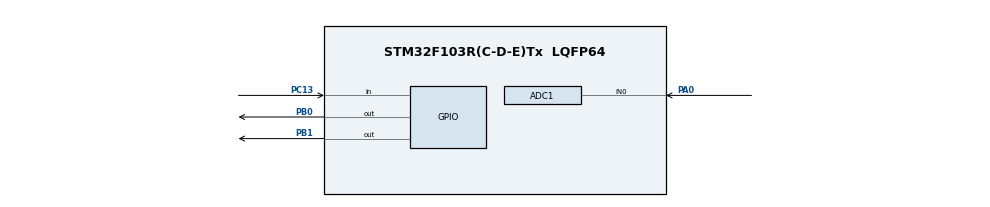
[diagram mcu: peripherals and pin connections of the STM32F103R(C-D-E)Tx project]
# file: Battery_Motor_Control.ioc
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ADC1.Channel-0\#ChannelRegularConversion=ADC_CHANNEL_0
ADC1.NbrOfConversionFlag=1
ADC1.Rank-0\#ChannelRegularConversion=1
ADC1.SamplingTime-0\#ChannelRegularConversion=ADC_SAMPLETIME_1CYCLE_5
ADC1.master=1
Mcu.Family=STM32F1
Mcu.Name=STM32F103R(C-D-E)Tx
Mcu.Package=LQFP64
NVIC.PriorityGroup=NVIC_PRIORITYGROUP_4
PA0-WKUP.Signal=ADCx_IN0
PB0.GPIO_PuPd=GPIO_NOPULL
PB0.Signal=GPIO_Output
PB1.Signal=GPIO_Output
PC13-TAMPER-RTC.GPIO_PuPd=GPIO_PULLDOWN
PC13-TAMPER-RTC.Signal=GPIO_Input
ProjectManager.HeapSize=0x200
ProjectManager.StackSize=0x400
ProjectManager.TargetToolchain=STM32CubeIDE
RCC.APB1Freq_Value=8000000
RCC.APB2Freq_Value=8000000
SH.ADCx_IN0.0=ADC1_IN0,IN0
VP_SYS_VS_ND.Mode=No_Debug
board=custom

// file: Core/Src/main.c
/* USER CODE BEGIN Header */
/**
  ******************************************************************************
  * @file           : main.c
  * @brief          : Main program body
  ******************************************************************************
  * @attention
  *
  * Copyright (c) 2025 STMicroelectronics.
  * All rights reserved.
  *
  * This software is licensed under terms that can be found in the LICENSE file
  * in the root directory of this software component.
  * If no LICENSE file comes with this software, it is provided AS-IS.
  *
  ******************************************************************************
  */
/* USER CODE END Header */
#include "main.h"

ADC_HandleTypeDef hadc1;

void SystemClock_Config(void);
static void MX_GPIO_Init(void);
static void MX_ADC1_Init(void);
/* USER CODE BEGIN PFP */

// Function prototypes
float readBatteryVoltage(void);
void stopMotors(void);
void rotateMotorCW(void);
void rotateMotorCCW(void);

/* USER CODE END PFP */

/* USER CODE BEGIN 0 */

// INSERT VARIABLES AND DEFINES HERE
#include <stdio.h>

#define MOTOR_ENABLE_PIN GPIO_PIN_0
#define MOTOR_ENABLE_PORT GPIOB
#define MOTOR_DIR_PIN GPIO_PIN_1
#define MOTOR_DIR_PORT GPIOB

#define BUTTON_PIN GPIO_PIN_13
#define BUTTON_PORT GPIOC

volatile uint8_t buttonClickCount = 0;
volatile uint32_t lastClickTime = 0;

/* USER CODE END 0 */

int main(void)
{

  /* MCU Configuration--------------------------------------------------------*/

  /* Reset of all peripherals, Initializes the Flash interface and the Systick. */
  HAL_Init();

  /* Configure the system clock */
  SystemClock_Config();

  /* Initialize all configured peripherals */
  MX_GPIO_Init();
  MX_ADC1_Init();

  /* Infinite loop */
  /* USER CODE BEGIN WHILE */
  while (1)
  {
	  float voltage = readBatteryVoltage();

	  if (voltage < 6.5) {
		  stopMotors();
	  } else if (voltage > 7.0) {
		  if (buttonClickCount == 1) {
			  stopMotors();
		  } else if (buttonClickCount == 2) {
			  rotateMotorCCW();
		  } else if (buttonClickCount == 3) {
			  rotateMotorCW();
		  }
	  } else {
		  rotateMotorCW();
	  }

	  if (HAL_GetTick() - lastClickTime > 500) {
		  buttonClickCount = 0;
	  }

	  HAL_Delay(100);
	  }
	  /* USER CODE END WHILE */

    /* USER CODE END WHILE */

  }

void SystemClock_Config(void)
{
  RCC_OscInitTypeDef RCC_OscInitStruct = {0};
  RCC_ClkInitTypeDef RCC_ClkInitStruct = {0};
  RCC_PeriphCLKInitTypeDef PeriphClkInit = {0};

  /** Initializes the RCC Oscillators according to the specified parameters
  * in the RCC_OscInitTypeDef structure.
  */
  RCC_OscInitStruct.OscillatorType = RCC_OSCILLATORTYPE_HSI;
  RCC_OscInitStruct.HSIState = RCC_HSI_ON;
  RCC_OscInitStruct.HSICalibrationValue = RCC_HSICALIBRATION_DEFAULT;
  RCC_OscInitStruct.PLL.PLLState = RCC_PLL_NONE;
  if (HAL_RCC_OscConfig(&RCC_OscInitStruct) != HAL_OK)
  {
    Error_Handler();
  }

  /** Initializes the CPU, AHB and APB buses clocks
  */
  RCC_ClkInitStruct.ClockType = RCC_CLOCKTYPE_HCLK|RCC_CLOCKTYPE_SYSCLK
                              |RCC_CLOCKTYPE_PCLK1|RCC_CLOCKTYPE_PCLK2;
  RCC_ClkInitStruct.SYSCLKSource = RCC_SYSCLKSOURCE_HSI;
  RCC_ClkInitStruct.AHBCLKDivider = RCC_SYSCLK_DIV1;
  RCC_ClkInitStruct.APB1CLKDivider = RCC_HCLK_DIV1;
  RCC_ClkInitStruct.APB2CLKDivider = RCC_HCLK_DIV1;

  if (HAL_RCC_ClockConfig(&RCC_ClkInitStruct, FLASH_LATENCY_0) != HAL_OK)
  {
    Error_Handler();
  }
  PeriphClkInit.PeriphClockSelection = RCC_PERIPHCLK_ADC;
  PeriphClkInit.AdcClockSelection = RCC_ADCPCLK2_DIV2;
  if (HAL_RCCEx_PeriphCLKConfig(&PeriphClkInit) != HAL_OK)
  {
    Error_Handler();
  }
}

static void MX_ADC1_Init(void)
{

  ADC_ChannelConfTypeDef sConfig = {0};

  /** Common config
  */
  hadc1.Instance = ADC1;
  hadc1.Init.ScanConvMode = ADC_SCAN_DISABLE;
  hadc1.Init.ContinuousConvMode = DISABLE;
  hadc1.Init.DiscontinuousConvMode = DISABLE;
  hadc1.Init.ExternalTrigConv = ADC_SOFTWARE_START;
  hadc1.Init.DataAlign = ADC_DATAALIGN_RIGHT;
  hadc1.Init.NbrOfConversion = 1;
  if (HAL_ADC_Init(&hadc1) != HAL_OK)
  {
    Error_Handler();
  }

  /** Configure Regular Channel
  */
  sConfig.Channel = ADC_CHANNEL_0;
  sConfig.Rank = ADC_REGULAR_RANK_1;
  sConfig.SamplingTime = ADC_SAMPLETIME_1CYCLE_5;
  if (HAL_ADC_ConfigChannel(&hadc1, &sConfig) != HAL_OK)
  {
    Error_Handler();
  }

}

static void MX_GPIO_Init(void)
{
  GPIO_InitTypeDef GPIO_InitStruct = {0};

  /* GPIO Ports Clock Enable */
  __HAL_RCC_GPIOC_CLK_ENABLE();
  __HAL_RCC_GPIOA_CLK_ENABLE();
  __HAL_RCC_GPIOB_CLK_ENABLE();

  /*Configure GPIO pin Output Level */
  HAL_GPIO_WritePin(GPIOB, GPIO_PIN_0|GPIO_PIN_1, GPIO_PIN_RESET);

  /*Configure GPIO pin : PC13 */
  GPIO_InitStruct.Pin = GPIO_PIN_13;
  GPIO_InitStruct.Mode = GPIO_MODE_IT_RISING;
  GPIO_InitStruct.Pull = GPIO_PULLDOWN;
  HAL_GPIO_Init(GPIOC, &GPIO_InitStruct);

  /*Configure GPIO pins : PB0 PB1 */
  GPIO_InitStruct.Pin = GPIO_PIN_0|GPIO_PIN_1;
  GPIO_InitStruct.Mode = GPIO_MODE_OUTPUT_PP;
  GPIO_InitStruct.Pull = GPIO_NOPULL;
  GPIO_InitStruct.Speed = GPIO_SPEED_FREQ_LOW;
  HAL_GPIO_Init(GPIOB, &GPIO_InitStruct);

  /* USER CODE BEGIN MX_GPIO_Init_2 */

  HAL_NVIC_SetPriority(EXTI15_10_IRQn, 0, 0);
  HAL_NVIC_EnableIRQ(EXTI15_10_IRQn);

  /* USER CODE END MX_GPIO_Init_2 */
}

/* USER CODE BEGIN 4 */

float readBatteryVoltage() {
    HAL_ADC_Start(&hadc1);
    HAL_ADC_PollForConversion(&hadc1, HAL_MAX_DELAY);
    uint32_t adcValue = HAL_ADC_GetValue(&hadc1);
    float voltage = (adcValue / 4095.0) * 3.3;
    voltage *= 2;
    return voltage;
}

void stopMotors() {
    HAL_GPIO_WritePin(MOTOR_ENABLE_PORT, MOTOR_ENABLE_PIN, GPIO_PIN_RESET);
}

void rotateMotorCW() {
    HAL_GPIO_WritePin(MOTOR_DIR_PORT, MOTOR_DIR_PIN, GPIO_PIN_SET);
    HAL_GPIO_WritePin(MOTOR_ENABLE_PORT, MOTOR_ENABLE_PIN, GPIO_PIN_SET);
}

void rotateMotorCCW() {
    HAL_GPIO_WritePin(MOTOR_DIR_PORT, MOTOR_DIR_PIN, GPIO_PIN_RESET);
    HAL_GPIO_WritePin(MOTOR_ENABLE_PORT, MOTOR_ENABLE_PIN, GPIO_PIN_SET);
}

void HAL_GPIO_EXTI_Callback(uint16_t GPIO_Pin)
{
    if (GPIO_Pin == BUTTON_PIN) {
        uint32_t currentTime = HAL_GetTick();
        if (currentTime - lastClickTime < 500) {
            buttonClickCount++;
        } else {
            buttonClickCount = 1;
        }
        lastClickTime = currentTime;
    }
}

void EXTI15_10_IRQHandler(void)
{
  HAL_GPIO_EXTI_IRQHandler(GPIO_PIN_13);
}

/* USER CODE END 4 */

void Error_Handler(void)
{
  __disable_irq();
  while (1)
  {
  }
}
